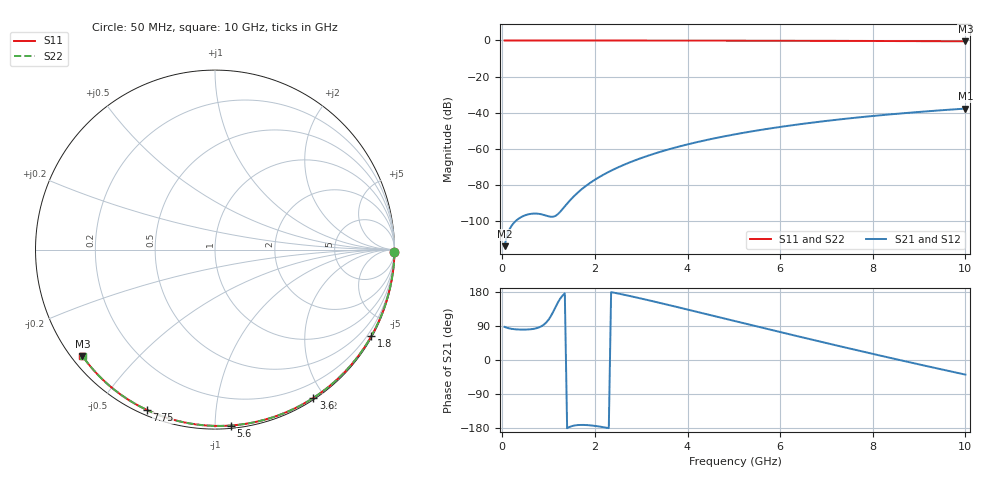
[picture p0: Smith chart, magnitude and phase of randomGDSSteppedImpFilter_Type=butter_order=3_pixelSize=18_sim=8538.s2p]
! freq	dB(S11)	phase(S11)	dB(S12)	phase(S12)
!  dB(S21)	phase(S21)	dB(S22)	phase(S22)
!S-par simulation data
#  GHz  S  DB  R 50
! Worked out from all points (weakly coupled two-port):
!   200 points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, 50 MHz to 10 GHz, reference 50 ohm
!   highest |S21| = -37.74 dB at 10 GHz (marker M1); lowest = -113.9 dB at 50 MHz (marker M2)
!   lowest |S11| = -0.5 dB at 10 GHz (marker M3), VSWR 36.80, Z = 1.53 - j17.6 ohm
!   |S11| at or under -10 dB: nowhere
!   |S22| runs from -0.5 to 0.0 dB; largest |S21 - S12| = 0
!   S11 on the Smith chart (normalised r, x): 50 MHz: open; 1.8 GHz: 0.03, -3.88; 3.6 GHz: 0.02, -1.86; 5.6 GHz: 0.02, -1.09; 7.75 GHz: 0.02, -0.66; 10 GHz: 0.03, -0.35
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0.05  -0.00 -0.8  -113.93 87.3  -113.93 87.3  -0.00 -0.8
0.45  -0.01 -7.3  -97.29 80.2  -97.29 80.2  -0.01 -7.3
0.9  -0.02 -14.6  -96.65 93.6  -96.65 93.6  -0.02 -14.6
1.75  -0.04 -28.1  -81.66 -171.3  -81.66 -171.3  -0.04 -28.1
1.8  -0.04 -28.9  -80.66 -171.6  -80.66 -171.6  -0.04 -28.9
1.85  -0.04 -29.7  -79.72 -171.9  -79.72 -171.9  -0.04 -29.6
2  -0.04 -32.0  -77.13 -173.9  -77.13 -173.9  -0.04 -32.0
2.15  -0.04 -34.4  -74.82 -176.6  -74.82 -176.6  -0.04 -34.3
2.35  -0.05 -37.5  -72.11 179.1  -72.11 179.1  -0.05 -37.4
2.55  -0.05 -40.6  -69.70 174.2  -69.70 174.2  -0.05 -40.5
2.95  -0.06 -46.7  -65.59 163.5  -65.59 163.5  -0.06 -46.6
3.4  -0.07 -53.4  -61.76 150.8  -61.76 150.8  -0.07 -53.4
3.6  -0.08 -56.4  -60.26 144.9  -60.26 144.9  -0.08 -56.4
4.3  -0.09 -66.6  -55.75 124.3  -55.75 124.3  -0.09 -66.6
5.05  -0.12 -77.2  -51.86 101.9  -51.86 101.9  -0.12 -77.2
5.6  -0.14 -84.8  -49.46 85.6  -49.46 85.6  -0.14 -84.8
6.15  -0.16 -92.2  -47.35 69.4  -47.35 69.4  -0.16 -92.2
6.7  -0.19 -99.5  -45.48 53.3  -45.48 53.3  -0.19 -99.4
7.75  -0.26 -113.0  -42.46 23.2  -42.46 23.2  -0.26 -112.9
8.35  -0.31 -120.6  -41.00 6.3  -41.00 6.3  -0.31 -120.5
9.2  -0.38 -131.3  -39.19 -17.1  -39.19 -17.1  -0.38 -131.1
10  -0.47 -141.3  -37.74 -38.5  -37.74 -38.5  -0.47 -141.2
